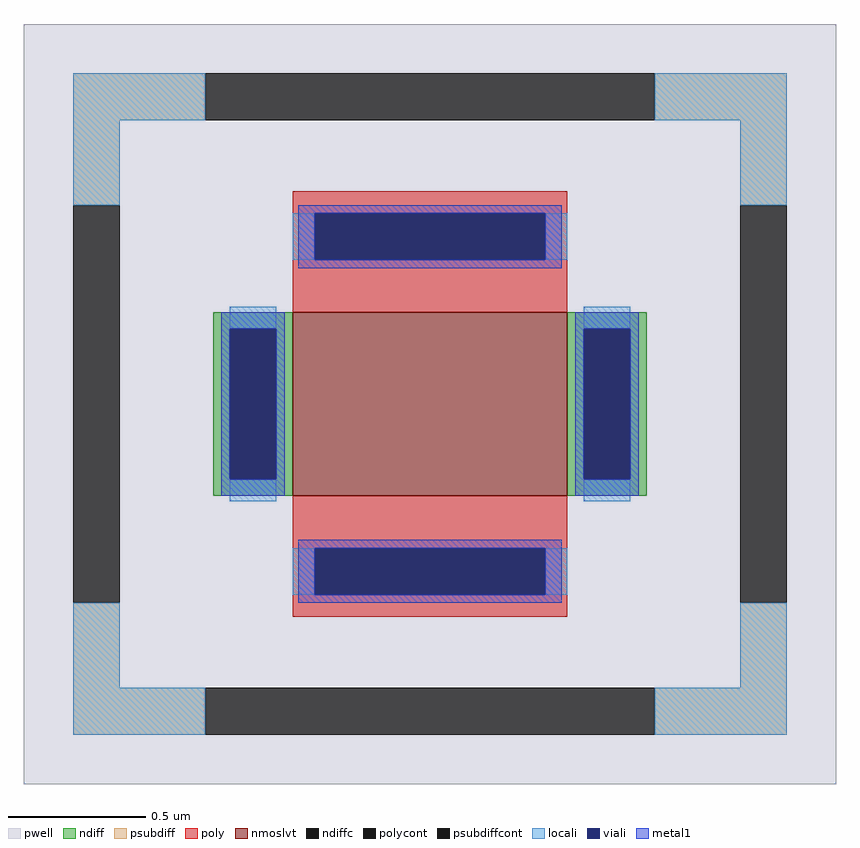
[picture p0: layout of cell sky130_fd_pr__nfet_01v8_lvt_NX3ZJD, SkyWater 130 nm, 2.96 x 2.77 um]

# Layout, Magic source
magic
tech sky130A
magscale 1 2
<< pwell >>
rect -296 -277 296 277
<< nmoslvt >>
rect -100 -67 100 67
<< ndiff >>
rect -158 55 -100 67
rect -158 -55 -146 55
rect -112 -55 -100 55
rect -158 -67 -100 -55
rect 100 55 158 67
rect 100 -55 112 55
rect 146 -55 158 55
rect 100 -67 158 -55
<< ndiffc >>
rect -146 -55 -112 55
rect 112 -55 146 55
<< psubdiff >>
rect -260 207 -164 241
rect 164 207 260 241
rect -260 145 -226 207
rect 226 145 260 207
rect -260 -207 -226 -145
rect 226 -207 260 -145
rect -260 -241 -164 -207
rect 164 -241 260 -207
<< psubdiffcont >>
rect -164 207 164 241
rect -260 -145 -226 145
rect 226 -145 260 145
rect -164 -241 164 -207
<< poly >>
rect -100 139 100 155
rect -100 105 -84 139
rect 84 105 100 139
rect -100 67 100 105
rect -100 -105 100 -67
rect -100 -139 -84 -105
rect 84 -139 100 -105
rect -100 -155 100 -139
<< polycont >>
rect -84 105 84 139
rect -84 -139 84 -105
<< locali >>
rect -260 207 -164 241
rect 164 207 260 241
rect -260 145 -226 207
rect 226 145 260 207
rect -100 105 -84 139
rect 84 105 100 139
rect -146 55 -112 71
rect -146 -71 -112 -55
rect 112 55 146 71
rect 112 -71 146 -55
rect -100 -139 -84 -105
rect 84 -139 100 -105
rect -260 -207 -226 -145
rect 226 -207 260 -145
rect -260 -241 -164 -207
rect 164 -241 260 -207
<< viali >>
rect -84 105 84 139
rect -146 -55 -112 55
rect 112 -55 146 55
rect -84 -139 84 -105
<< metal1 >>
rect -96 139 96 145
rect -96 105 -84 139
rect 84 105 96 139
rect -96 99 96 105
rect -152 55 -106 67
rect -152 -55 -146 55
rect -112 -55 -106 55
rect -152 -67 -106 -55
rect 106 55 152 67
rect 106 -55 112 55
rect 146 -55 152 55
rect 106 -67 152 -55
rect -96 -105 96 -99
rect -96 -139 -84 -105
rect 84 -139 96 -105
rect -96 -145 96 -139
<< properties >>
string FIXED_BBOX -243 -224 243 224
string gencell sky130_fd_pr__nfet_01v8_lvt
string library sky130
string parameters w 0.67 l 1.0 m 1 nf 1 diffcov 100 polycov 100 guard 1 glc 1 grc 1 gtc 1 gbc 1 tbcov 100 rlcov 100 topc 1 botc 1 poverlap 0 doverlap 1 lmin 0.15 wmin 0.42 class mosfet compatible {sky130_fd_pr__nfet_01v8 sky130_fd_pr__nfet_01v8_lvt  sky130_fd_bs_flash__special_sonosfet_star  sky130_fd_pr__nfet_g5v0d10v5 sky130_fd_pr__nfet_05v0_nvt  sky130_fd_pr__nfet_03v3_nvt} full_metal 1 viasrc 100 viadrn 100 viagate 100 viagb 0 viagr 0 viagl 0 viagt 0
<< end >>
